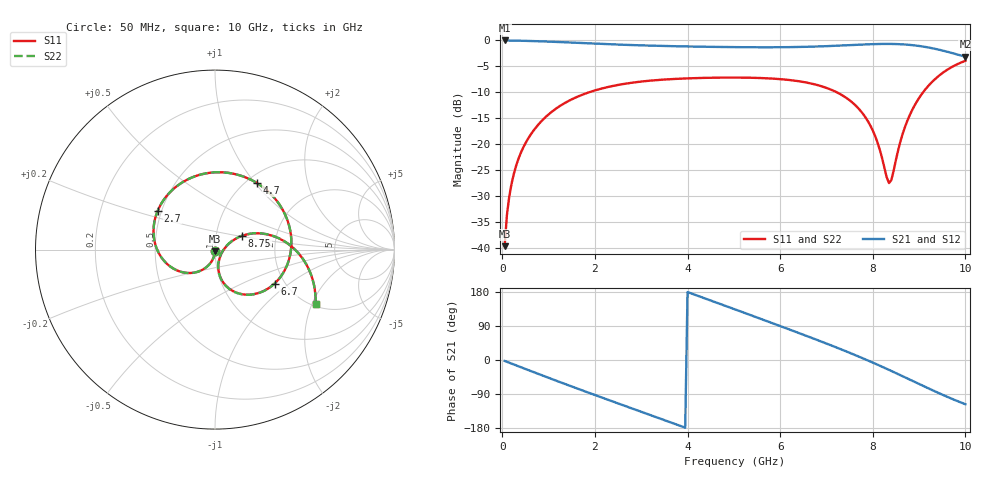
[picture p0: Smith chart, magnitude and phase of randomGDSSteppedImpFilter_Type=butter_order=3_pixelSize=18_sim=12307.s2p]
! freq	dB(S11)	phase(S11)	dB(S12)	phase(S12)
!  dB(S21)	phase(S21)	dB(S22)	phase(S22)
!S-par simulation data
#  GHz  S  DB  R 50
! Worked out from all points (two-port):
!   200 points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, 50 MHz to 10 GHz, reference 50 ohm
!   highest |S21| = 0.00 dB at 50 MHz (marker M1); lowest = -3.2 dB at 10 GHz (marker M2)
!   |S21| within 3 dB of the highest: start of sweep to 9.943 GHz
!   lowest |S11| = -39.6 dB at 50 MHz (marker M3), VSWR 1.02, Z = 50 - j1.04 ohm
!   |S11| at or under -10 dB: start of sweep to 1.87 GHz; 7.225 GHz to 9.086 GHz (1.862 GHz wide, 22.8 % of centre)
!   |S22| runs from -39.6 to -3.9 dB; largest |S21 - S12| = 0
!   S11 on the Smith chart (normalised r, x): 50 MHz: 1.00, -0.02; 2.7 GHz: 0.48, +0.24; 4.7 GHz: 1.11, +1.02; 6.7 GHz: 1.77, -0.78; 8.75 GHz: 1.34, +0.21; 10 GHz: 2.09, -2.12
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0.05  -39.64 -92.1  -0.00 -2.4  -0.00 -2.4  -39.64 -92.1
0.1  -33.62 -94.7  -0.01 -4.8  -0.01 -4.8  -33.62 -94.7
0.2  -27.61 -99.6  -0.02 -9.6  -0.02 -9.6  -27.61 -99.6
0.5  -19.81 -114.5  -0.08 -23.7  -0.08 -23.7  -19.81 -114.5
1.15  -13.20 -144.6  -0.28 -54.0  -0.28 -54.0  -13.20 -144.6
1.75  -10.38 -172.0  -0.52 -81.2  -0.52 -81.2  -10.38 -172.0
2.2  -9.15 167.9  -0.69 -101.3  -0.69 -101.3  -9.15 167.8
2.7  -8.27 145.8  -0.86 -123.4  -0.86 -123.4  -8.27 145.7
3.4  -7.60 115.0  -1.05 -154.2  -1.05 -154.2  -7.60 115.0
4.05  -7.29 86.4  -1.17 177.1  -1.17 177.1  -7.29 86.4
4.7  -7.17 57.8  -1.26 148.1  -1.26 148.1  -7.17 57.7
5.05  -7.16 42.4  -1.29 132.5  -1.29 132.5  -7.16 42.3
5.9  -7.39 5.1  -1.31 94.2  -1.31 94.2  -7.39 5.0
6.7  -8.36 -29.7  -1.19 57.5  -1.19 57.5  -8.37 -29.9
7.3  -10.35 -55.7  -0.99 29.0  -0.99 29.0  -10.36 -56.0
7.8  -14.29 -75.4  -0.78 3.8  -0.78 3.8  -14.30 -75.8
8.1  -19.61 -79.7  -0.69 -12.2  -0.69 -12.2  -19.64 -80.4
8.35  -27.48 -32.1  -0.67 -26.0  -0.67 -26.0  -27.75 -32.4
8.4  -26.93 -8.8  -0.67 -28.8  -0.67 -28.8  -27.17 -8.4
8.75  -15.40 26.9  -0.82 -48.8  -0.82 -48.8  -15.42 27.3
9.3  -7.82 4.8  -1.53 -80.4  -1.53 -80.4  -7.82 4.9
10  -3.92 -28.3  -3.15 -116.8  -3.15 -116.8  -3.92 -28.3
